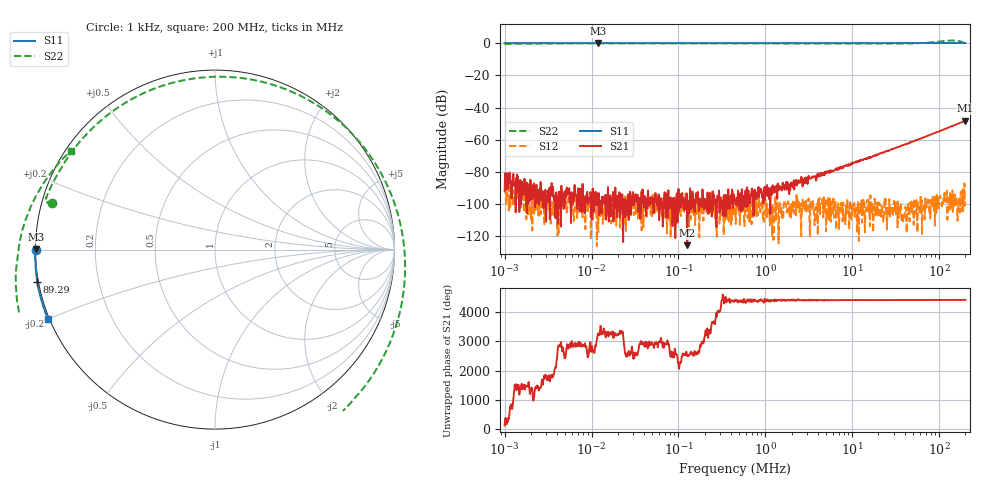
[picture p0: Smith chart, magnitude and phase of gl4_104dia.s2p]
! ListType=Log
# MHZ S RI R 50
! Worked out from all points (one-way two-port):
!   1000 points, 1 kHz to 200 MHz, reference 50 ohm
!   highest |S21| = -48.05 dB at 200 MHz (marker M1); lowest = -125.4 dB at 126.3 kHz (marker M2)
!   lowest |S11| = 0.0 dB at 11.95 kHz (marker M3), VSWR 746.91, Z = 0.0669 + j0.0184 ohm
!   |S11| at or under -10 dB: nowhere
!   |S22| runs from -0.5 to 1.7 dB; largest |S21 - S12| = 0.004
!   S11 on the Smith chart (normalised r, x): 1 kHz: 0.00, -0.00; 89.29 MHz: -0.00, -0.09; 200 MHz: -0.00, -0.20
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0.001  -0.9997 -0.000119  -1.74e-05 1.84e-05  -1.15e-05 -2.99e-05  -0.9089 0.26
0.0076941  -0.9997 -7.84e-05  5.7e-06 -4e-07  -2.1e-06 8.4e-06  -0.9422 0.2759
0.011945  -0.9973 0.000733  1.14e-05 7.1e-06  -1.2e-06 6e-07  -0.9435 0.2782
0.0584804  -0.9995 -0.000173  7.1e-06 8e-07  1.1e-06 -7.5e-06  -0.9406 0.2882
0.1262726  -0.9997 -0.000326  5e-07 -2e-07  -8.2e-06 -1.07e-05  -0.9394 0.2899
0.4499541  -0.9998 -0.00128  7.4e-06 1.14e-05  1.8e-06 7.1e-06  -0.9349 0.303
3.419952  -1.001 -0.00776  3e-06 6.93e-05  -1.8e-06 -7.2e-06  -0.8867 0.4028
5.783523  -1.001 -0.0128  1.4e-06 9.94e-05  1.2e-05 -1.5e-06  -0.8449 0.4749
12.03851  -1.001 -0.0259  -7e-07 0.000216  -7.5e-06 -3e-07  -0.7122 0.6466
26.31347  -1.001 -0.0551  -2.1e-06 0.00046  3.6e-06 -3.5e-06  -0.3118 0.9064
39.86517  -1 -0.0824  -1.66e-05 0.000716  -8e-07 4.7e-06  0.1363 0.957
53.44975  -0.9987 -0.1096  -3.59e-05 0.000947  3.8e-06 -3.5e-06  0.5682 0.8053
69.0842  -0.9958 -0.1403  -6.94e-05 0.00124  -2.1e-06 -1.52e-05  0.9322 0.4127
89.29185  -0.9903 -0.1799  -0.000131 0.00163  -5e-07 -2.1e-06  1.043 -0.2849
98.4606  -0.9872 -0.1978  -0.000144 0.0018  -3.8e-06 -6.4e-06  0.9366 -0.6005
108.5708  -0.9839 -0.2171  -0.000161 0.002  -1.06e-05 -4.1e-06  0.7122 -0.8994
122.6808  -0.9775 -0.244  -0.00021 0.00227  -1.86e-05 -1.83e-05  0.2579 -1.156
135.278  -0.9715 -0.2677  -0.000231 0.00255  -3.1e-06 -5.7e-06  -0.2103 -1.185
149.1688  -0.964 -0.2934  -0.000239 0.00283  1.5e-06 -9.1e-06  -0.6843 -0.9897
166.5079  -0.9536 -0.325  -0.000268 0.00316  -7e-06 -1.02e-05  -1.054 -0.491
179.1732  -0.9462 -0.3506  -0.000295 0.00346  -1.87e-05 -8.8e-06  -1.102 -0.0581
200  -0.9311 -0.3843  -0.000356 0.00394  -1.29e-05 -6.6e-06  -0.8026 0.5506
